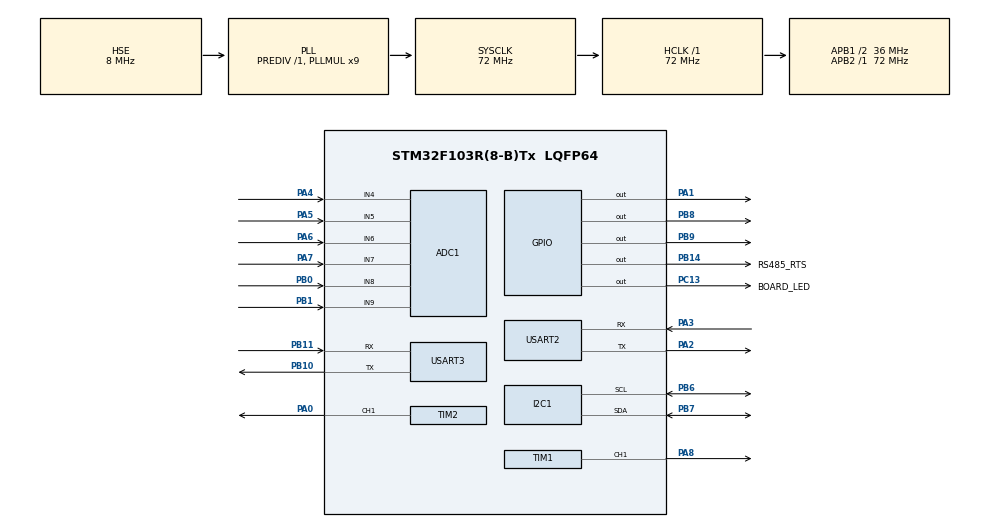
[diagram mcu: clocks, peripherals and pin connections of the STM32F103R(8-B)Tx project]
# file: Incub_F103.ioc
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ADC1.Channel-2\#ChannelRegularConversion=ADC_CHANNEL_4
ADC1.Channel-3\#ChannelRegularConversion=ADC_CHANNEL_5
ADC1.Channel-4\#ChannelRegularConversion=ADC_CHANNEL_6
ADC1.Channel-5\#ChannelRegularConversion=ADC_CHANNEL_7
ADC1.Channel-6\#ChannelRegularConversion=ADC_CHANNEL_8
ADC1.Channel-7\#ChannelRegularConversion=ADC_CHANNEL_9
ADC1.ExternalTrigConv=ADC_EXTERNALTRIGCONV_T4_CC4
ADC1.NbrOfConversion=6
ADC1.NbrOfConversionFlag=1
ADC1.Rank-2\#ChannelRegularConversion=1
ADC1.Rank-3\#ChannelRegularConversion=2
ADC1.Rank-4\#ChannelRegularConversion=3
ADC1.Rank-5\#ChannelRegularConversion=4
ADC1.Rank-6\#ChannelRegularConversion=5
ADC1.Rank-7\#ChannelRegularConversion=6
ADC1.SamplingTime-2\#ChannelRegularConversion=ADC_SAMPLETIME_13CYCLES_5
ADC1.SamplingTime-3\#ChannelRegularConversion=ADC_SAMPLETIME_13CYCLES_5
ADC1.SamplingTime-4\#ChannelRegularConversion=ADC_SAMPLETIME_13CYCLES_5
ADC1.SamplingTime-5\#ChannelRegularConversion=ADC_SAMPLETIME_13CYCLES_5
ADC1.SamplingTime-6\#ChannelRegularConversion=ADC_SAMPLETIME_1CYCLE_5
ADC1.SamplingTime-7\#ChannelRegularConversion=ADC_SAMPLETIME_1CYCLE_5
ADC1.master=1
Dma.ADC1.0.Direction=DMA_PERIPH_TO_MEMORY
Dma.ADC1.0.Instance=DMA1_Channel1
Dma.ADC1.0.MemDataAlignment=DMA_MDATAALIGN_HALFWORD
Dma.ADC1.0.MemInc=DMA_MINC_ENABLE
Dma.ADC1.0.Mode=DMA_CIRCULAR
Dma.ADC1.0.PeriphDataAlignment=DMA_PDATAALIGN_HALFWORD
Dma.ADC1.0.PeriphInc=DMA_PINC_DISABLE
Dma.ADC1.0.Priority=DMA_PRIORITY_LOW
Dma.Request0=ADC1
I2C1.I2C_Mode=I2C_Fast
Mcu.Family=STM32F1
Mcu.Name=STM32F103R(8-B)Tx
Mcu.Package=LQFP64
NVIC.DMA1_Channel1_IRQn=true\:0\:0\:false\:false\:true\:false\:true\:true
NVIC.PriorityGroup=NVIC_PRIORITYGROUP_4
NVIC.TIM1_UP_IRQn=true\:0\:0\:false\:false\:true\:true\:true\:true
NVIC.TIM2_IRQn=true\:0\:0\:false\:false\:true\:true\:true\:true
NVIC.TIM3_IRQn=true\:0\:0\:false\:false\:true\:true\:true\:true
NVIC.TIM4_IRQn=true\:0\:0\:false\:false\:true\:true\:true\:true
NVIC.USART2_IRQn=true\:0\:0\:false\:false\:true\:true\:true\:true
NVIC.USART3_IRQn=true\:0\:0\:false\:false\:true\:true\:true\:true
PA0-WKUP.GPIO_Speed=GPIO_SPEED_FREQ_HIGH
PA0-WKUP.Signal=S_TIM2_CH1_ETR
PA1.GPIO_Speed=GPIO_SPEED_FREQ_HIGH
PA1.PinState=GPIO_PIN_RESET
PA1.Signal=GPIO_Output
PA13.Mode=Serial_Wire
PA13.Signal=SYS_JTMS-SWDIO
PA14.Mode=Serial_Wire
PA14.Signal=SYS_JTCK-SWCLK
PA2.Mode=Asynchronous
PA2.Signal=USART2_TX
PA3.Mode=Asynchronous
PA3.Signal=USART2_RX
PA4.Signal=ADCx_IN4
PA5.Signal=ADCx_IN5
PA6.Signal=ADCx_IN6
PA7.Signal=ADCx_IN7
PA8.GPIO_Speed=GPIO_SPEED_FREQ_HIGH
PA8.Signal=S_TIM1_CH1
PB0.Signal=ADCx_IN8
PB1.Signal=ADCx_IN9
PB10.Mode=Asynchronous
PB10.Signal=USART3_TX
PB11.Mode=Asynchronous
PB11.Signal=USART3_RX
PB14.GPIO_Label=RS485_RTS
PB14.GPIO_Speed=GPIO_SPEED_FREQ_HIGH
PB14.PinState=GPIO_PIN_RESET
PB14.Signal=GPIO_Output
PB6.GPIO_Pu=GPIO_PULLUP
PB6.Mode=I2C
PB6.Signal=I2C1_SCL
PB7.GPIO_Pu=GPIO_PULLUP
PB7.Mode=I2C
PB7.Signal=I2C1_SDA
PB8.GPIO_Speed=GPIO_SPEED_FREQ_HIGH
PB8.PinState=GPIO_PIN_RESET
PB8.Signal=GPIO_Output
PB9.GPIO_Speed=GPIO_SPEED_FREQ_HIGH
PB9.PinState=GPIO_PIN_RESET
PB9.Signal=GPIO_Output
PC13-TAMPER-RTC.GPIO_Label=BOARD_LED
PC13-TAMPER-RTC.GPIO_Speed=GPIO_SPEED_FREQ_HIGH
PC13-TAMPER-RTC.PinState=GPIO_PIN_RESET
PC13-TAMPER-RTC.Signal=GPIO_Output
PD0-OSC_IN.Mode=HSE-External-Oscillator
PD0-OSC_IN.Signal=RCC_OSC_IN
PD1-OSC_OUT.Mode=HSE-External-Oscillator
PD1-OSC_OUT.Signal=RCC_OSC_OUT
ProjectManager.HeapSize=0x200
ProjectManager.StackSize=0x400
ProjectManager.TargetToolchain=STM32CubeIDE
RCC.ADCPresc=RCC_ADCPCLK2_DIV6
RCC.AHBFreq_Value=72000000
RCC.APB1CLKDivider=RCC_HCLK_DIV2
RCC.APB1Freq_Value=36000000
RCC.APB1TimFreq_Value=72000000
RCC.APB2Freq_Value=72000000
RCC.APB2TimFreq_Value=72000000
RCC.HCLKFreq_Value=72000000
RCC.PLLMUL=RCC_PLL_MUL9
RCC.PLLSourceVirtual=RCC_PLLSOURCE_HSE
RCC.SYSCLKFreq_VALUE=72000000
RCC.SYSCLKSource=RCC_SYSCLKSOURCE_PLLCLK
RCC.USBFreq_Value=48000000
RCC.USBPrescaler=RCC_USBCLKSOURCE_PLL_DIV1_5
SH.ADCx_IN4.0=ADC1_IN4,IN4
SH.ADCx_IN5.0=ADC1_IN5,IN5
SH.ADCx_IN6.0=ADC1_IN6,IN6
SH.ADCx_IN7.0=ADC1_IN7,IN7
SH.ADCx_IN8.0=ADC1_IN8,IN8
SH.ADCx_IN9.0=ADC1_IN9,IN9
SH.S_TIM1_CH1.0=TIM1_CH1,PWM Generation1 CH1
SH.S_TIM2_CH1_ETR.0=TIM2_CH1,PWM Generation1 CH1
TIM1.Channel-PWM\ Generation1\ CH1=TIM_CHANNEL_1
TIM1.ClockDivision=TIM_CLOCKDIVISION_DIV1
TIM1.Period=3000
TIM1.Prescaler=24
TIM1.Pulse-PWM\ Generation1\ CH1=1500
TIM2.Channel-PWM\ Generation1\ CH1=TIM_CHANNEL_1
TIM2.Period=3000
TIM2.Prescaler=24
TIM2.Pulse-PWM\ Generation1\ CH1=1500
TIM3.Channel-Output\ Compare1\ No\ Output=TIM_CHANNEL_1
TIM3.Period=10000
TIM3.Prescaler=72
TIM4.AutoReloadPreload=TIM_AUTORELOAD_PRELOAD_ENABLE
TIM4.Channel-Output\ Compare4\ No\ Output=TIM_CHANNEL_4
TIM4.OCMode_4=TIM_OCMODE_TOGGLE
TIM4.Period=10000
TIM4.Prescaler=720
TIM4.Pulse-Output\ Compare4\ No\ Output=0
TIM4.TIM_MasterOutputTrigger=TIM_TRGO_RESET
USART2.VirtualMode=VM_ASYNC
USART3.VirtualMode=VM_ASYNC
VP_TIM1_VS_ClockSourceINT.Mode=Internal
VP_TIM2_VS_ClockSourceINT.Mode=Internal
VP_TIM3_VS_ClockSourceINT.Mode=Internal
VP_TIM3_VS_no_output1.Mode=Output Compare1 No Output
VP_TIM4_VS_ClockSourceINT.Mode=Internal
VP_TIM4_VS_no_output4.Mode=Output Compare4 No Output
board=custom

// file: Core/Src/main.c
/* USER CODE BEGIN Header */
/**
  ******************************************************************************
  * @file           : main.c
  * @brief          : Main program body
  ******************************************************************************
  * @attention
  *
  * <h2><center>&copy; Copyright (c) 2022 STMicroelectronics.
  * All rights reserved.</center></h2>
  *
  * This software component is licensed by ST under BSD 3-Clause license,
  * the "License"; You may not use this file except in compliance with the
  * License. You may obtain a copy of the License at:
  *                        opensource.org/licenses/BSD-3-Clause
  *
  ******************************************************************************
  */
/* USER CODE END Header */
#include "main.h"

/* USER CODE BEGIN Includes */
#include "defaults.h"
#include <string.h>
#include <stdlib.h>
#include <stdio.h>
#include <math.h>

#include "mb.h"
#include "mbport.h"
#include "user_mb_app.h"
#include "user_mb_handlers.h"
#include "tools.h"
#include "user_eeprom.h"
#include "user_app.h"
/* USER CODE END Includes */

/* USER CODE BEGIN PD */
#define BLINK_WAIT_PERIOD_MS	500
#define BLINK_OP_PERIOD_MS		250

#define SCHEDULE_PROC_STOPPED 0xff

/* USER CODE END PD */

ADC_HandleTypeDef hadc1;
DMA_HandleTypeDef hdma_adc1;

I2C_HandleTypeDef hi2c1;

TIM_HandleTypeDef htim1;
TIM_HandleTypeDef htim2;
TIM_HandleTypeDef htim3;
TIM_HandleTypeDef htim4;

UART_HandleTypeDef huart2;
UART_HandleTypeDef huart3;

/* USER CODE BEGIN PV */
unsigned short DeviceType = 5;
unsigned char SN[12];
unsigned short SlaveID = MB_SlaveID;
unsigned short LastCommand = 0;

unsigned short* MB3Regs[MB_MAX3regs];
unsigned short* MB4Regs[MB_MAX4regs];

volatile unsigned short ADC_Data[6];

float k1 = DEF_k1;
float b1 = DEF_b1;
float k2 = DEF_k2;
float b2 = DEF_b2;
float k3 = DEF_k3;
float b3 = DEF_b3;
float k4 = DEF_k4;
float b4 = DEF_b4;

volatile float CurrentO2 = 0.0f;
volatile float CurrentCO2 = 0.0f;
float TargetO2 = 18.0f;
float TargetCO2 = 2.0f;
volatile float CurrentPress1 = 0.0f;
volatile float CurrentPress2 = 0.0f;

unsigned short Valve1 = 50;
unsigned short Valve2 = 50;
unsigned short KoefN2 = 80;
unsigned short KoefCO2 = 80;

float Volume = Tank_V;
float SValve_N2 = S_N2;
float SValve_CO2 = S_CO2;

unsigned short OperationState = 0;
EEPROM_Statuses_t UseEEPROM = EEPROM_FREE;

PlanElement_t Plan[MAX_Plan];
unsigned short CurrentPlan = SCHEDULE_PROC_STOPPED;
unsigned short PlanSize = 0;

static uint32_t msBlinkCounter = 0;
static uint32_t MsScheduleUpdateCounter = PLAN_Update_Time * 1000;
static uint32_t msBlinkPeriod = BLINK_WAIT_PERIOD_MS;

/* USER CODE END PV */

void SystemClock_Config(void);
static void MX_GPIO_Init(void);
static void MX_DMA_Init(void);
static void MX_ADC1_Init(void);
static void MX_TIM1_Init(void);
static void MX_TIM2_Init(void);
static void MX_USART2_UART_Init(void);
static void MX_USART3_UART_Init(void);
static void MX_TIM4_Init(void);
static void MX_TIM3_Init(void);
static void MX_I2C1_Init(void);
/* USER CODE BEGIN PFP */
void Assign_MB_Mem(void);
void FillDeviceSN(void);

/*
void OpenN2(void);
void OpenCO2(void);
void CloseN2(void);
void CloseCO2(void);

int CalcN2(int PlanIndex); //return milliseconds
int CalcCO2(int PlanIndex);
void CreatePlan(void);
*/

/* USER CODE END PFP */

/* USER CODE BEGIN 0 */

void HAL_UART_ErrorCallback(UART_HandleTypeDef *huart)
{
	if (huart == &huart2)
	{
		HAL_UART_AbortTransmit_IT(&huart2);
		HAL_UART_AbortReceive_IT(&huart2);
//		UART2_RX_Pos = 0;
	//	UART2_RX_Buf[0] = 0;
//		HAL_UART_Receive_IT(&huart2, &UART2_RX_Char, 1);
	}
	if (huart == &huart3)
	{
		HAL_GPIO_WritePin(GPIOB, GPIO_PIN_14, GPIO_PIN_RESET);
		HAL_UART_AbortTransmit_IT(&huart3);
		HAL_UART_AbortReceive_IT(&huart3);
	//	UART3_RX_Pos = 0;
//		UART3_RX_Buf[0] = 0;
//		HAL_UART_Receive_IT(&huart3, &UART3_RX_Char, 1);
	}
}

void WriteUART2(void)
{

}

void WriteUART3(void)
{
	int k = 0;
	HAL_GPIO_WritePin(GPIOB, GPIO_PIN_14, GPIO_PIN_SET);
	for (int i =0; i < 100; i++) k++;
	//HAL_Delay(10);
//	HAL_UART_Transmit_IT(&huart3, (unsigned char*)UART3_TX_Buf, UART3_TX_Pos);
}

/* USER CODE END 0 */

int main(void)
{

	/* MCU Configuration--------------------------------------------------------*/

	/* Reset of all peripherals, Initializes the Flash interface and the Systick. */
	HAL_Init();

	/* Configure the system clock */
	SystemClock_Config();

	/* Initialize all configured peripherals */
	MX_GPIO_Init();
	MX_DMA_Init();
	MX_ADC1_Init();
	MX_TIM1_Init();
	MX_TIM2_Init();
	MX_USART2_UART_Init();
	MX_USART3_UART_Init();
	MX_TIM4_Init();
	MX_TIM3_Init();
	MX_I2C1_Init();
	/* USER CODE BEGIN 2 */

	Assign_MB_Mem();

	InitEEPROM(&hi2c1);
	// Восстановление параметров из памяти
	UseEEPROM = LoadFromEEPROM();

	htim1.Instance->CCR1 = 30 * Valve1; //reset - may change on load
	htim2.Instance->CCR1 = 30 * Valve2;

	FillDeviceSN();
	InitRelays(&htim2, &htim1);

	HAL_ADCEx_Calibration_Start(&hadc1);
	HAL_ADC_Start_DMA(&hadc1, (uint32_t*)&ADC_Data, 6);
	HAL_TIM_OC_Start(&htim4, TIM_CHANNEL_4);

	HAL_NVIC_EnableIRQ(TIM3_IRQn); //30-10-23
	HAL_TIM_OC_Start_IT(&htim3, TIM_CHANNEL_1);

	// ModBus Init
	eMBInit( MB_RTU, MB_SlaveID, &huart3, 115200, &htim3 );
	eMBEnable();

	// 2nd Modbus Channel
	userMBInit(MB_SlaveID, &huart2, &htim3 );
	userMBEnable();

  /* USER CODE END 2 */

  /* Infinite loop */
  /* USER CODE BEGIN WHILE */
  while (1)
  {
		UpdateMesure();
		eMBPoll();
		userMBPoll();

		if (msTimer_GetFrom(msBlinkCounter) >= msBlinkPeriod) {
			msBlinkCounter = msTimer_GetStamp();

			HAL_GPIO_TogglePin(BOARD_LED_GPIO_Port, BOARD_LED_Pin);
		}

		// Save settings request
		if(UseEEPROM == EEPROM_SAVE_RQST)
			UseEEPROM = SaveToEEPROM();

		// Operate command request
		if (LastCommand == CMD_Start) {
			if ((OperationState & SOST_PlanReady) && !(OperationState & SOST_Running))
			{
				OperationState |= SOST_Running;
				CurrentPlan = 0;
			}
		}
		else if (LastCommand == CMD_Stop) {
			OperationState &= ~(SOST_OpenCO2 | SOST_OpenN2 | SOST_Running | SOST_PlanStarted);
			CurrentPlan = SCHEDULE_PROC_STOPPED;
		}

		// Если план готов и пришла команда на начало работы
		if (OperationState & SOST_Running) {
			ProcSchedule();
			msBlinkPeriod = BLINK_OP_PERIOD_MS;
		}
		else  //Not running = watching
		{
			CloseCO2();
			CloseN2();
			msBlinkPeriod = BLINK_WAIT_PERIOD_MS;

			//обновлять план, если просто наблюдаем каждые PLAN_Update_Time секунд.
			if (msTimer_GetFrom(MsScheduleUpdateCounter) > PLAN_Update_Time * 1000) {
				MsScheduleUpdateCounter = msTimer_GetStamp();
				OperationState |= CreateSchedule();
			}
		}

    /* USER CODE END WHILE */

  }
}

void SystemClock_Config(void)
{
  RCC_OscInitTypeDef RCC_OscInitStruct = {0};
  RCC_ClkInitTypeDef RCC_ClkInitStruct = {0};
  RCC_PeriphCLKInitTypeDef PeriphClkInit = {0};

  /** Initializes the RCC Oscillators according to the specified parameters
  * in the RCC_OscInitTypeDef structure.
  */
  RCC_OscInitStruct.OscillatorType = RCC_OSCILLATORTYPE_HSE;
  RCC_OscInitStruct.HSEState = RCC_HSE_ON;
  RCC_OscInitStruct.HSEPredivValue = RCC_HSE_PREDIV_DIV1;
  RCC_OscInitStruct.HSIState = RCC_HSI_ON;
  RCC_OscInitStruct.PLL.PLLState = RCC_PLL_ON;
  RCC_OscInitStruct.PLL.PLLSource = RCC_PLLSOURCE_HSE;
  RCC_OscInitStruct.PLL.PLLMUL = RCC_PLL_MUL9;
  if (HAL_RCC_OscConfig(&RCC_OscInitStruct) != HAL_OK)
  {
    Error_Handler();
  }

  /** Initializes the CPU, AHB and APB buses clocks
  */
  RCC_ClkInitStruct.ClockType = RCC_CLOCKTYPE_HCLK|RCC_CLOCKTYPE_SYSCLK
                              |RCC_CLOCKTYPE_PCLK1|RCC_CLOCKTYPE_PCLK2;
  RCC_ClkInitStruct.SYSCLKSource = RCC_SYSCLKSOURCE_PLLCLK;
  RCC_ClkInitStruct.AHBCLKDivider = RCC_SYSCLK_DIV1;
  RCC_ClkInitStruct.APB1CLKDivider = RCC_HCLK_DIV2;
  RCC_ClkInitStruct.APB2CLKDivider = RCC_HCLK_DIV1;

  if (HAL_RCC_ClockConfig(&RCC_ClkInitStruct, FLASH_LATENCY_2) != HAL_OK)
  {
    Error_Handler();
  }
  PeriphClkInit.PeriphClockSelection = RCC_PERIPHCLK_ADC;
  PeriphClkInit.AdcClockSelection = RCC_ADCPCLK2_DIV6;
  if (HAL_RCCEx_PeriphCLKConfig(&PeriphClkInit) != HAL_OK)
  {
    Error_Handler();
  }
}

static void MX_ADC1_Init(void)
{

  ADC_ChannelConfTypeDef sConfig = {0};

  /** Common config
  */
  hadc1.Instance = ADC1;
  hadc1.Init.ScanConvMode = ADC_SCAN_ENABLE;
  hadc1.Init.ContinuousConvMode = DISABLE;
  hadc1.Init.DiscontinuousConvMode = DISABLE;
  hadc1.Init.ExternalTrigConv = ADC_EXTERNALTRIGCONV_T4_CC4;
  hadc1.Init.DataAlign = ADC_DATAALIGN_RIGHT;
  hadc1.Init.NbrOfConversion = 6;
  if (HAL_ADC_Init(&hadc1) != HAL_OK)
  {
    Error_Handler();
  }

  /** Configure Regular Channel
  */
  sConfig.Channel = ADC_CHANNEL_4;
  sConfig.Rank = ADC_REGULAR_RANK_1;
  sConfig.SamplingTime = ADC_SAMPLETIME_13CYCLES_5;
  if (HAL_ADC_ConfigChannel(&hadc1, &sConfig) != HAL_OK)
  {
    Error_Handler();
  }

  /** Configure Regular Channel
  */
  sConfig.Channel = ADC_CHANNEL_5;
  sConfig.Rank = ADC_REGULAR_RANK_2;
  if (HAL_ADC_ConfigChannel(&hadc1, &sConfig) != HAL_OK)
  {
    Error_Handler();
  }

  /** Configure Regular Channel
  */
  sConfig.Channel = ADC_CHANNEL_6;
  sConfig.Rank = ADC_REGULAR_RANK_3;
  if (HAL_ADC_ConfigChannel(&hadc1, &sConfig) != HAL_OK)
  {
    Error_Handler();
  }

  /** Configure Regular Channel
  */
  sConfig.Channel = ADC_CHANNEL_7;
  sConfig.Rank = ADC_REGULAR_RANK_4;
  if (HAL_ADC_ConfigChannel(&hadc1, &sConfig) != HAL_OK)
  {
    Error_Handler();
  }

  /** Configure Regular Channel
  */
  sConfig.Channel = ADC_CHANNEL_8;
  sConfig.Rank = ADC_REGULAR_RANK_5;
  sConfig.SamplingTime = ADC_SAMPLETIME_1CYCLE_5;
  if (HAL_ADC_ConfigChannel(&hadc1, &sConfig) != HAL_OK)
  {
    Error_Handler();
  }

  /** Configure Regular Channel
  */
  sConfig.Channel = ADC_CHANNEL_9;
  sConfig.Rank = ADC_REGULAR_RANK_6;
  if (HAL_ADC_ConfigChannel(&hadc1, &sConfig) != HAL_OK)
  {
    Error_Handler();
  }

}

static void MX_I2C1_Init(void)
{

  hi2c1.Instance = I2C1;
  hi2c1.Init.ClockSpeed = 400000;
  hi2c1.Init.DutyCycle = I2C_DUTYCYCLE_2;
  hi2c1.Init.OwnAddress1 = 0;
  hi2c1.Init.AddressingMode = I2C_ADDRESSINGMODE_7BIT;
  hi2c1.Init.DualAddressMode = I2C_DUALADDRESS_DISABLE;
  hi2c1.Init.OwnAddress2 = 0;
  hi2c1.Init.GeneralCallMode = I2C_GENERALCALL_DISABLE;
  hi2c1.Init.NoStretchMode = I2C_NOSTRETCH_DISABLE;
  if (HAL_I2C_Init(&hi2c1) != HAL_OK)
  {
    Error_Handler();
  }

}

static void MX_TIM1_Init(void)
{

  /* USER CODE BEGIN TIM1_Init 0 */
		//TIM1 - PWM азота
  /* USER CODE END TIM1_Init 0 */

  TIM_ClockConfigTypeDef sClockSourceConfig = {0};
  TIM_MasterConfigTypeDef sMasterConfig = {0};
  TIM_OC_InitTypeDef sConfigOC = {0};
  TIM_BreakDeadTimeConfigTypeDef sBreakDeadTimeConfig = {0};

  htim1.Instance = TIM1;
  htim1.Init.Prescaler = 24;
  htim1.Init.CounterMode = TIM_COUNTERMODE_UP;
  htim1.Init.Period = 3000;
  htim1.Init.ClockDivision = TIM_CLOCKDIVISION_DIV1;
  htim1.Init.RepetitionCounter = 0;
  htim1.Init.AutoReloadPreload = TIM_AUTORELOAD_PRELOAD_DISABLE;
  if (HAL_TIM_Base_Init(&htim1) != HAL_OK)
  {
    Error_Handler();
  }
  sClockSourceConfig.ClockSource = TIM_CLOCKSOURCE_INTERNAL;
  if (HAL_TIM_ConfigClockSource(&htim1, &sClockSourceConfig) != HAL_OK)
  {
    Error_Handler();
  }
  if (HAL_TIM_PWM_Init(&htim1) != HAL_OK)
  {
    Error_Handler();
  }
  sMasterConfig.MasterOutputTrigger = TIM_TRGO_RESET;
  sMasterConfig.MasterSlaveMode = TIM_MASTERSLAVEMODE_DISABLE;
  if (HAL_TIMEx_MasterConfigSynchronization(&htim1, &sMasterConfig) != HAL_OK)
  {
    Error_Handler();
  }
  sConfigOC.OCMode = TIM_OCMODE_PWM1;
  sConfigOC.Pulse = 1500;
  sConfigOC.OCPolarity = TIM_OCPOLARITY_HIGH;
  sConfigOC.OCNPolarity = TIM_OCNPOLARITY_HIGH;
  sConfigOC.OCFastMode = TIM_OCFAST_DISABLE;
  sConfigOC.OCIdleState = TIM_OCIDLESTATE_RESET;
  sConfigOC.OCNIdleState = TIM_OCNIDLESTATE_RESET;
  if (HAL_TIM_PWM_ConfigChannel(&htim1, &sConfigOC, TIM_CHANNEL_1) != HAL_OK)
  {
    Error_Handler();
  }
  sBreakDeadTimeConfig.OffStateRunMode = TIM_OSSR_DISABLE;
  sBreakDeadTimeConfig.OffStateIDLEMode = TIM_OSSI_DISABLE;
  sBreakDeadTimeConfig.LockLevel = TIM_LOCKLEVEL_OFF;
  sBreakDeadTimeConfig.DeadTime = 0;
  sBreakDeadTimeConfig.BreakState = TIM_BREAK_DISABLE;
  sBreakDeadTimeConfig.BreakPolarity = TIM_BREAKPOLARITY_HIGH;
  sBreakDeadTimeConfig.AutomaticOutput = TIM_AUTOMATICOUTPUT_DISABLE;
  if (HAL_TIMEx_ConfigBreakDeadTime(&htim1, &sBreakDeadTimeConfig) != HAL_OK)
  {
    Error_Handler();
  }
  HAL_TIM_MspPostInit(&htim1);

}

static void MX_TIM2_Init(void)
{

  /* USER CODE BEGIN TIM2_Init 0 */
		//TIM2 - PWM СО2
  /* USER CODE END TIM2_Init 0 */

  TIM_ClockConfigTypeDef sClockSourceConfig = {0};
  TIM_MasterConfigTypeDef sMasterConfig = {0};
  TIM_OC_InitTypeDef sConfigOC = {0};

  htim2.Instance = TIM2;
  htim2.Init.Prescaler = 24;
  htim2.Init.CounterMode = TIM_COUNTERMODE_UP;
  htim2.Init.Period = 3000;
  htim2.Init.ClockDivision = TIM_CLOCKDIVISION_DIV1;
  htim2.Init.AutoReloadPreload = TIM_AUTORELOAD_PRELOAD_DISABLE;
  if (HAL_TIM_Base_Init(&htim2) != HAL_OK)
  {
    Error_Handler();
  }
  sClockSourceConfig.ClockSource = TIM_CLOCKSOURCE_INTERNAL;
  if (HAL_TIM_ConfigClockSource(&htim2, &sClockSourceConfig) != HAL_OK)
  {
    Error_Handler();
  }
  if (HAL_TIM_PWM_Init(&htim2) != HAL_OK)
  {
    Error_Handler();
  }
  sMasterConfig.MasterOutputTrigger = TIM_TRGO_RESET;
  sMasterConfig.MasterSlaveMode = TIM_MASTERSLAVEMODE_DISABLE;
  if (HAL_TIMEx_MasterConfigSynchronization(&htim2, &sMasterConfig) != HAL_OK)
  {
    Error_Handler();
  }
  sConfigOC.OCMode = TIM_OCMODE_PWM1;
  sConfigOC.Pulse = 1500;
  sConfigOC.OCPolarity = TIM_OCPOLARITY_HIGH;
  sConfigOC.OCFastMode = TIM_OCFAST_DISABLE;
  if (HAL_TIM_PWM_ConfigChannel(&htim2, &sConfigOC, TIM_CHANNEL_1) != HAL_OK)
  {
    Error_Handler();
  }
  HAL_TIM_MspPostInit(&htim2);

}

static void MX_TIM3_Init(void)
{

  /* USER CODE BEGIN TIM3_Init 0 */
	//Счетчик длительности периодов, собственный период 100 мс
  /* USER CODE END TIM3_Init 0 */

  TIM_ClockConfigTypeDef sClockSourceConfig = {0};
  TIM_MasterConfigTypeDef sMasterConfig = {0};
  TIM_OC_InitTypeDef sConfigOC = {0};

  htim3.Instance = TIM3;
  htim3.Init.Prescaler = 72;
  htim3.Init.CounterMode = TIM_COUNTERMODE_UP;
  htim3.Init.Period = 10000;
  htim3.Init.ClockDivision = TIM_CLOCKDIVISION_DIV1;
  htim3.Init.AutoReloadPreload = TIM_AUTORELOAD_PRELOAD_DISABLE;
  if (HAL_TIM_Base_Init(&htim3) != HAL_OK)
  {
    Error_Handler();
  }
  sClockSourceConfig.ClockSource = TIM_CLOCKSOURCE_INTERNAL;
  if (HAL_TIM_ConfigClockSource(&htim3, &sClockSourceConfig) != HAL_OK)
  {
    Error_Handler();
  }
  if (HAL_TIM_OC_Init(&htim3) != HAL_OK)
  {
    Error_Handler();
  }
  sMasterConfig.MasterOutputTrigger = TIM_TRGO_RESET;
  sMasterConfig.MasterSlaveMode = TIM_MASTERSLAVEMODE_DISABLE;
  if (HAL_TIMEx_MasterConfigSynchronization(&htim3, &sMasterConfig) != HAL_OK)
  {
    Error_Handler();
  }
  sConfigOC.OCMode = TIM_OCMODE_TIMING;
  sConfigOC.Pulse = 0;
  sConfigOC.OCPolarity = TIM_OCPOLARITY_HIGH;
  sConfigOC.OCFastMode = TIM_OCFAST_DISABLE;
  if (HAL_TIM_OC_ConfigChannel(&htim3, &sConfigOC, TIM_CHANNEL_1) != HAL_OK)
  {
    Error_Handler();
  }

}

static void MX_TIM4_Init(void)
{

  /* USER CODE BEGIN TIM4_Init 0 */
	//Автозапуск АЦП
  /* USER CODE END TIM4_Init 0 */

  TIM_ClockConfigTypeDef sClockSourceConfig = {0};
  TIM_MasterConfigTypeDef sMasterConfig = {0};
  TIM_OC_InitTypeDef sConfigOC = {0};

  htim4.Instance = TIM4;
  htim4.Init.Prescaler = 720;
  htim4.Init.CounterMode = TIM_COUNTERMODE_UP;
  htim4.Init.Period = 10000;
  htim4.Init.ClockDivision = TIM_CLOCKDIVISION_DIV1;
  htim4.Init.AutoReloadPreload = TIM_AUTORELOAD_PRELOAD_ENABLE;
  if (HAL_TIM_Base_Init(&htim4) != HAL_OK)
  {
    Error_Handler();
  }
  sClockSourceConfig.ClockSource = TIM_CLOCKSOURCE_INTERNAL;
  if (HAL_TIM_ConfigClockSource(&htim4, &sClockSourceConfig) != HAL_OK)
  {
    Error_Handler();
  }
  if (HAL_TIM_OC_Init(&htim4) != HAL_OK)
  {
    Error_Handler();
  }
  sMasterConfig.MasterOutputTrigger = TIM_TRGO_RESET;
  sMasterConfig.MasterSlaveMode = TIM_MASTERSLAVEMODE_DISABLE;
  if (HAL_TIMEx_MasterConfigSynchronization(&htim4, &sMasterConfig) != HAL_OK)
  {
    Error_Handler();
  }
  sConfigOC.OCMode = TIM_OCMODE_TOGGLE;
  sConfigOC.Pulse = 0;
  sConfigOC.OCPolarity = TIM_OCPOLARITY_HIGH;
  sConfigOC.OCFastMode = TIM_OCFAST_DISABLE;
  if (HAL_TIM_OC_ConfigChannel(&htim4, &sConfigOC, TIM_CHANNEL_4) != HAL_OK)
  {
    Error_Handler();
  }

}

static void MX_USART2_UART_Init(void)
{

  huart2.Instance = USART2;
  huart2.Init.BaudRate = 115200;
  huart2.Init.WordLength = UART_WORDLENGTH_8B;
  huart2.Init.StopBits = UART_STOPBITS_1;
  huart2.Init.Parity = UART_PARITY_NONE;
  huart2.Init.Mode = UART_MODE_TX_RX;
  huart2.Init.HwFlowCtl = UART_HWCONTROL_NONE;
  huart2.Init.OverSampling = UART_OVERSAMPLING_16;
  if (HAL_UART_Init(&huart2) != HAL_OK)
  {
    Error_Handler();
  }
  /* USER CODE BEGIN USART2_Init 2 */
		HAL_NVIC_EnableIRQ(USART2_IRQn);
  /* USER CODE END USART2_Init 2 */

}

static void MX_USART3_UART_Init(void)
{

  huart3.Instance = USART3;
  huart3.Init.BaudRate = 115200;
  huart3.Init.WordLength = UART_WORDLENGTH_8B;
  huart3.Init.StopBits = UART_STOPBITS_1;
  huart3.Init.Parity = UART_PARITY_NONE;
  huart3.Init.Mode = UART_MODE_TX_RX;
  huart3.Init.HwFlowCtl = UART_HWCONTROL_NONE;
  huart3.Init.OverSampling = UART_OVERSAMPLING_16;
  if (HAL_UART_Init(&huart3) != HAL_OK)
  {
    Error_Handler();
  }
  /* USER CODE BEGIN USART3_Init 2 */
		HAL_NVIC_EnableIRQ(USART3_IRQn);
  /* USER CODE END USART3_Init 2 */

}

static void MX_DMA_Init(void)
{

  /* DMA controller clock enable */
  __HAL_RCC_DMA1_CLK_ENABLE();

  /* DMA interrupt init */
  /* DMA1_Channel1_IRQn interrupt configuration */
  HAL_NVIC_SetPriority(DMA1_Channel1_IRQn, 0, 0);
  HAL_NVIC_EnableIRQ(DMA1_Channel1_IRQn);

}

static void MX_GPIO_Init(void)
{
  GPIO_InitTypeDef GPIO_InitStruct = {0};

  /* GPIO Ports Clock Enable */
  __HAL_RCC_GPIOC_CLK_ENABLE();
  __HAL_RCC_GPIOD_CLK_ENABLE();
  __HAL_RCC_GPIOA_CLK_ENABLE();
  __HAL_RCC_GPIOB_CLK_ENABLE();

  /*Configure GPIO pin Output Level */
  HAL_GPIO_WritePin(BOARD_LED_GPIO_Port, BOARD_LED_Pin, GPIO_PIN_RESET);

  /*Configure GPIO pin Output Level */
  HAL_GPIO_WritePin(GPIOA, GPIO_PIN_1, GPIO_PIN_RESET);

  /*Configure GPIO pin Output Level */
  HAL_GPIO_WritePin(GPIOB, RS485_RTS_Pin|GPIO_PIN_8|GPIO_PIN_9, GPIO_PIN_RESET);

  /*Configure GPIO pin : BOARD_LED_Pin */
  GPIO_InitStruct.Pin = BOARD_LED_Pin;
  GPIO_InitStruct.Mode = GPIO_MODE_OUTPUT_PP;
  GPIO_InitStruct.Pull = GPIO_NOPULL;
  GPIO_InitStruct.Speed = GPIO_SPEED_FREQ_HIGH;
  HAL_GPIO_Init(BOARD_LED_GPIO_Port, &GPIO_InitStruct);

  /*Configure GPIO pin : PA1 */
  GPIO_InitStruct.Pin = GPIO_PIN_1;
  GPIO_InitStruct.Mode = GPIO_MODE_OUTPUT_PP;
  GPIO_InitStruct.Pull = GPIO_NOPULL;
  GPIO_InitStruct.Speed = GPIO_SPEED_FREQ_HIGH;
  HAL_GPIO_Init(GPIOA, &GPIO_InitStruct);

  /*Configure GPIO pins : RS485_RTS_Pin PB8 PB9 */
  GPIO_InitStruct.Pin = RS485_RTS_Pin|GPIO_PIN_8|GPIO_PIN_9;
  GPIO_InitStruct.Mode = GPIO_MODE_OUTPUT_PP;
  GPIO_InitStruct.Pull = GPIO_NOPULL;
  GPIO_InitStruct.Speed = GPIO_SPEED_FREQ_HIGH;
  HAL_GPIO_Init(GPIOB, &GPIO_InitStruct);

}

/* USER CODE BEGIN 4 */

void Assign_MB_Mem(void)
{
	int i;
/*	//Original
	MB3Regs[1] = &DeviceType;
	MB3Regs[2] = (unsigned short*)&SN[0];
	MB3Regs[3] = (unsigned short*)&SN[2];
	MB3Regs[4] = (unsigned short*)&SN[4];
	MB3Regs[5] = (unsigned short*)&SN[6];
	MB3Regs[6] = (unsigned short*)&SN[8];
	MB3Regs[7] = (unsigned short*)&SN[10];
	MB3Regs[8] = &Sost; //reserved, for define assign to Sost
	MB3Regs[9] = &Sost; //reserved, for define assign to Sost
	MB3Regs[10] = (unsigned short*)&CurrentO2;
	MB3Regs[11] = MB3Regs[10]++;
	MB3Regs[12] = (unsigned short*)&CurrentCO2;
	MB3Regs[13] = MB3Regs[12]++;
	MB3Regs[14] = (unsigned short*)&CurrentPress1;
	MB3Regs[15] = MB3Regs[14]++;
	MB3Regs[16] = (unsigned short*)&CurrentPress2;
	MB3Regs[17] = MB3Regs[16]++;
	MB3Regs[18] = &Sost;
	MB3Regs[19] = (unsigned short*)&ADC_Data[0];
	MB3Regs[20] = (unsigned short*)&ADC_Data[1];
	MB3Regs[21] = (unsigned short*)&ADC_Data[2];
	MB3Regs[22] = (unsigned short*)&ADC_Data[3];
	MB3Regs[23] = &PlanSize;

for (i = 0; i < MAX_Plan; i++)
	{
		MB3Regs[24 + 5*i] = (unsigned short*)&Plan[i].Value;
		MB3Regs[25 + 5*i] = MB3Regs[23 + 5*i]++;
		MB3Regs[26 + 5*i] = (unsigned short*)&Plan[i].TimeMs;
		MB3Regs[27 + 5*i] = MB3Regs[25 + 5*i]++;
		MB3Regs[28 + 5*i] = (unsigned short*)&Plan[i].GasType;
	}

	MB4Regs[1] = &SlaveID;
	MB4Regs[2] = (unsigned short*)&TargetO2;
	MB4Regs[3] = MB4Regs[2]++;
	MB4Regs[4] = (unsigned short*)&TargetCO2;
	MB4Regs[5] = MB4Regs[4]++;
	MB4Regs[6] = &Valve1;
	MB4Regs[7] = &Valve2;
	MB4Regs[8] = &KoefN2;
	MB4Regs[9] = &KoefCO2;
	MB4Regs[10] = (unsigned short*)&Volume;
	MB4Regs[11] = MB4Regs[10]++;
	MB4Regs[12] = &LastCommand;
	MB4Regs[13] = (unsigned short*)&k1;
	MB4Regs[14] = MB4Regs[13]++;
	MB4Regs[15] = (unsigned short*)&b1;
	MB4Regs[16] = MB4Regs[15]++;
	MB4Regs[17] = (unsigned short*)&k2;
	MB4Regs[18] = MB4Regs[17]++;
	MB4Regs[19] = (unsigned short*)&b2;
	MB4Regs[20] = MB4Regs[19]++;
	MB4Regs[21] = (unsigned short*)&k3;
	MB4Regs[22] = MB4Regs[21]++;
	MB4Regs[23] = (unsigned short*)&b3;
	MB4Regs[24] = MB4Regs[23]++;
	MB4Regs[25] = (unsigned short*)&k4;
	MB4Regs[26] = MB4Regs[25]++;
	MB4Regs[27] = (unsigned short*)&b4;
	MB4Regs[28] = MB4Regs[27]++;
	*/
	//reverce word order for float
	MB3Regs[1] = &DeviceType;
	MB3Regs[2] = (unsigned short*)&SN[0];
	MB3Regs[3] = (unsigned short*)&SN[2];
	MB3Regs[4] = (unsigned short*)&SN[4];
	MB3Regs[5] = (unsigned short*)&SN[6];
	MB3Regs[6] = (unsigned short*)&SN[8];
	MB3Regs[7] = (unsigned short*)&SN[10];
	MB3Regs[8] = &OperationState; //reserved, for define assign to Sost
	MB3Regs[9] = &OperationState; //reserved, for define assign to Sost
	MB3Regs[11] = (unsigned short*)&CurrentO2;
	MB3Regs[10] = MB3Regs[11]++;
	MB3Regs[13] = (unsigned short*)&CurrentCO2;
	MB3Regs[12] = MB3Regs[13]++;
	MB3Regs[15] = (unsigned short*)&CurrentPress1;
	MB3Regs[14] = MB3Regs[15]++;
	MB3Regs[17] = (unsigned short*)&CurrentPress2;
	MB3Regs[16] = MB3Regs[17]++;
	MB3Regs[18] = &OperationState;
	MB3Regs[19] = (unsigned short*)&ADC_Data[0];
	MB3Regs[20] = (unsigned short*)&ADC_Data[1];
	MB3Regs[21] = (unsigned short*)&ADC_Data[2];
	MB3Regs[22] = (unsigned short*)&ADC_Data[3];
	MB3Regs[23] = &PlanSize;
	MB3Regs[24] = &CurrentPlan;

	for (i = 0; i < MAX_Plan; i++)
	{
		MB3Regs[26 + 5*i] = (unsigned short*)&Plan[i].Value;
		MB3Regs[25 + 5*i] = MB3Regs[26 + 5*i]++;
		MB3Regs[28 + 5*i] = (unsigned short*)&Plan[i].TimeMs;
		MB3Regs[27 + 5*i] = MB3Regs[28 + 5*i]++;
		MB3Regs[29 + 5*i] = (unsigned short*)&Plan[i].GasType;
	}

	MB4Regs[1] = &SlaveID;
	MB4Regs[3] = (unsigned short*)&TargetO2;
	MB4Regs[2] = MB4Regs[3]++;
	MB4Regs[5] = (unsigned short*)&TargetCO2;
	MB4Regs[4] = MB4Regs[5]++;
	MB4Regs[6] = &Valve1;
	MB4Regs[7] = &Valve2;
	MB4Regs[8] = &KoefN2;
	MB4Regs[9] = &KoefCO2;
	MB4Regs[11] = (unsigned short*)&Volume;
	MB4Regs[10] = MB4Regs[11]++;
	MB4Regs[12] = &LastCommand;
	MB4Regs[14] = (unsigned short*)&k1;
	MB4Regs[13] = MB4Regs[14]++;
	MB4Regs[16] = (unsigned short*)&b1;
	MB4Regs[15] = MB4Regs[16]++;
	MB4Regs[18] = (unsigned short*)&k2;
	MB4Regs[17] = MB4Regs[18]++;
	MB4Regs[20] = (unsigned short*)&b2;
	MB4Regs[19] = MB4Regs[20]++;
	MB4Regs[22] = (unsigned short*)&k3;
	MB4Regs[21] = MB4Regs[22]++;
	MB4Regs[24] = (unsigned short*)&b3;
	MB4Regs[23] = MB4Regs[24]++;
	MB4Regs[26] = (unsigned short*)&k4;
	MB4Regs[25] = MB4Regs[26]++;
	MB4Regs[28] = (unsigned short*)&b4;
	MB4Regs[27] = MB4Regs[28]++;
	MB4Regs[29] = &UseEEPROM;
}

void FillDeviceSN(void)
{
	unsigned short *u, v;
	unsigned int i, *p;

	u = (unsigned short*)(UID_BASE);
	v = *u;
	SN[0] = (v >> 8) & 0xFF;
	SN[1] = v & 0xFF;
  u = (unsigned short*)(UID_BASE + 0x02);
	v = *u;
	SN[2] = (v >> 8) & 0xFF;
	SN[3] = v & 0xFF;
	p = (unsigned int*)(UID_BASE + 0x04);
	i = *p;
	SN[4] = (i >> 24) & 0xFF;
	SN[5] = (i >> 16) & 0xFF;
	SN[6] = (i >> 8) & 0xFF;
	SN[7] = i & 0xFF;
	p = (unsigned int*)(UID_BASE + 0x08);
	i = *p;
	SN[8] = (i >> 24) & 0xFF;
	SN[9] = (i >> 16) & 0xFF;
	SN[10] = (i >> 8) & 0xFF;
	SN[11] = i & 0xFF;
}

uint16_t mb_user_data_get(MB_User_Types_t type, uint16_t index) {

	static uint16_t index_prev;

	index++;

	switch(type) {
	case MB_T_IN_REG: {

		if(index >= 10 && index <= 17) {
			if(index == index_prev + 1) {
				float value = *((float*)MB3Regs[index_prev]);
				int32_t d = value * 65536.0f;
				index_prev = 0;
				return (d >> 16);

			} else {
				float value = *((float*)MB3Regs[index]);
				int32_t d = value * 65536.0f;
				index_prev = index;

				return d & 0xFFFF;
			}
		}
		return *MB3Regs[index];

	}

	case MB_T_HOLD_REG: {
		if((index >= 2 && index <= 5) || (index == 10) || (index == 11) ||
							(index >= 13 && index <= 28)) {
			if(index == index_prev + 1) {
				float value = *((float*)MB4Regs[index_prev]);
				int32_t d = value * 65536.0f;
				index_prev = 0;
				return (d >> 16);

			} else {
				float value = *((float*)MB4Regs[index]);
				int32_t d = value * 65536.0f;
				index_prev = index;

				return d & 0xFFFF;
			}
		}
		else
			return *MB4Regs[index];
	}

	case MB_T_COIL:
		return UINT16_MAX;
	case MB_T_DIN:
		return UINT16_MAX;

	default:
		return UINT16_MAX;
	}

}

uint16_t mb_user_data_set(MB_User_Types_t type, uint16_t index, uint16_t data) {

	static FourByte_t FB;
	static uint16_t index_prev;
	// increment index because of MB4Regs and MB3Regs offset by 1
	index++;

	switch(type) {

	case MB_T_HOLD_REG:
		uint16_t T = data;
		//
		if(index >= 6 && index <= 9) {
			if (!(OperationState & SOST_Running)) {
				if (T <= 100) {
					// update Valve1 or Valve2
					*MB4Regs[index] = T;

					htim1.Instance->CCR1 = 30 * Valve1; //reset on all change in (6-9) - for small code
					htim2.Instance->CCR1 = 30 * Valve2;

					OperationState &= ~(SOST_PlanReady | SOST_PlanStarted);
				}
			}
		}
		else if(index == 12) {
			if ((T == CMD_Start) || (T == CMD_Stop))
				LastCommand = T;

		}
		else {

			// 4 bytes parameters len
			if((index >= 2 && index <= 5) || (index == 10) || (index == 11) ||
					(index >= 13 && index <= 28)) {

				if(index == index_prev + 1) {
					FB.w[1] = data;
					float *value = (float*)MB4Regs[index_prev];
					*value = FB.i * 0.0000152587890625f; // / 65536.0f;

					index_prev = 0;

				} else {
					FB.w[0] = data;
					index_prev = index;
				}
			}
			// 2 bytes parameters len
			else
				*MB4Regs[index] = data;

		}

		break;

	case MB_T_COIL:
		break;

	default:
		return UINT16_MAX;
	}
	return 0;
}

void HAL_UART_RxCpltCallback(UART_HandleTypeDef *huart)
{
	if(huart->Instance == huart3.Instance)
	{
		xMBPortSerialRxCpltCallback(huart);
	}
	else if(huart->Instance == huart2.Instance) {
		userMBRxCallBack(huart);
	}
}

void HAL_UART_TxCpltCallback(UART_HandleTypeDef *huart)
{
	if(huart->Instance == huart3.Instance)
	{
		xMBPortSerialTxCpltCallback(huart);
	}
}

/* USER CODE END 4 */

void Error_Handler(void)
{
  __disable_irq();
  while (1)
  {
  }
}
